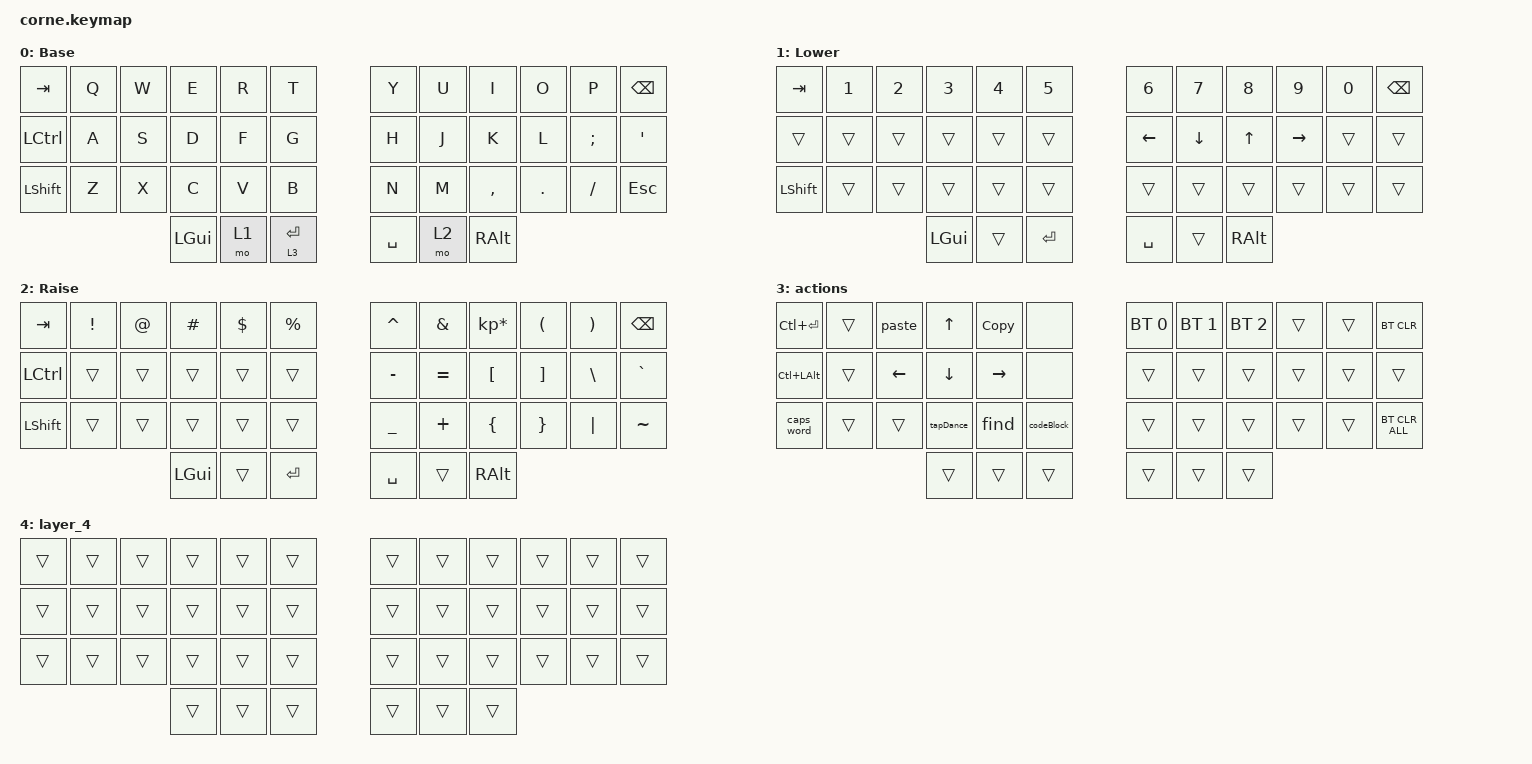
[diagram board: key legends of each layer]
/*
 * Copyright (c) 2020 The ZMK Contributors
 *
 * SPDX-License-Identifier: MIT
 */

#include <behaviors.dtsi>
#include <dt-bindings/zmk/bt.h>
#include <dt-bindings/zmk/keys.h>

/ {
    macros {
        instance: instance {
            compatible = "zmk,behavior-macro";
            #binding-cells = <0>;
            bindings = <&none &kp I &kp N &kp S &kp T &kp A &kp N &kp C &kp E &kp EQUAL>;
            label = "INSTANCE";
        };

        Pattern: Pattern {
            compatible = "zmk,behavior-macro";
            #binding-cells = <0>;
            bindings = <&none &kp P &kp A &kp T &kp T &kp E &kp R &kp N &kp EQUAL>;
            label = "PATTERN";
        };

        codeBlock: codeBlock {
            compatible = "zmk,behavior-macro";
            #binding-cells = <0>;
            bindings = <&none &kp LEFT_BRACE &kp C &kp O &kp D &kp E &kp RBRC &kp RET &kp RET &kp LEFT_BRACE &kp C &kp O &kp D &kp E &kp RBRC &kp UP>;
            label = "CODEBLOCK";
        };

        Copy: Control {
            compatible = "zmk,behavior-macro";
            #binding-cells = <0>;
            bindings = <&kp LC(C)>;
            label = "CONTROL";
        };

        paste: paste {
            compatible = "zmk,behavior-macro";
            #binding-cells = <0>;
            bindings = <&kp LC(V)>;
            label = "PASTE";
        };

        find: find {
            compatible = "zmk,behavior-macro";
            #binding-cells = <0>;
            bindings = <&kp LC(F)>;
            label = "FIND";
        };
    };

    combos {
        compatible = "zmk,combos";

        VolumeUp {
            bindings = <&kp C_VOLUME_UP>;
            key-positions = <16 19>;
        };

        VolumeDown {
            bindings = <&kp C_VOLUME_DOWN>;
            key-positions = <15 20>;
        };
    };

    behaviors {
        tapDance: tapDance {
            compatible = "zmk,behavior-tap-dance";
            label = "TAPDANCE";
            #binding-cells = <0>;
            bindings = <&Copy>, <&paste>;
        };
    };

    keymap {
        compatible = "zmk,keymap";

        default_layer {
            // -----------------------------------------------------------------------------------------
            // |  TAB |  Q  |  W  |  E  |  R  |  T  |   |  Y  |  U   |  I  |  O  |  P  | BKSP |
            // | CTRL |  A  |  S  |  D  |  F  |  G  |   |  H  |  J   |  K  |  L  |  ;  |  '   |
            // | SHFT |  Z  |  X  |  C  |  V  |  B  |   |  N  |  M   |  ,  |  .  |  /  | ESC  |
            //                    | GUI | LWR | SPC |   | ENT | RSE  | ALT |

            display-name = "Base";
            bindings = <
&kp TAB    &kp Q  &kp W  &kp E     &kp R  &kp T        &kp Y      &kp U  &kp I      &kp O    &kp P     &kp BSPC
&kp LCTRL  &kp A  &kp S  &kp D     &kp F  &kp G        &kp H      &kp J  &kp K      &kp L    &kp SEMI  &kp SQT
&kp LSHFT  &kp Z  &kp X  &kp C     &kp V  &kp B        &kp N      &kp M  &kp COMMA  &kp DOT  &kp FSLH  &kp ESC
                         &kp LGUI  &mo 1  &lt 3 RET    &kp SPACE  &mo 2  &kp RALT
            >;
        };

        lower_layer {
            // -----------------------------------------------------------------------------------------
            // |  TAB |  1  |  2  |  3  |  4  |  5  |   |  6  |  7  |  8  |  9  |  0  | BKSP |
            // | BTCLR| BT1 | BT2 | BT3 | BT4 | BT5 |   | LFT | DWN |  UP | RGT |     |      |
            // | SHFT |     |     |     |     |     |   |     |     |     |     |     |      |
            //                    | GUI |     | SPC |   | ENT |     | ALT |

            display-name = "Lower";
            bindings = <
&kp TAB    &kp N1  &kp N2  &kp N3    &kp N4  &kp N5     &kp N6     &kp N7    &kp N8    &kp N9     &kp N0  &kp BSPC
&trans     &trans  &trans  &trans    &trans  &trans     &kp LEFT   &kp DOWN  &kp UP    &kp RIGHT  &trans  &trans
&kp LSHFT  &trans  &trans  &trans    &trans  &trans     &trans     &trans    &trans    &trans     &trans  &trans
                           &kp LGUI  &trans  &kp RET    &kp SPACE  &trans    &kp RALT
            >;
        };

        raise_layer {
            // -----------------------------------------------------------------------------------------
            // |  TAB |  !  |  @  |  #  |  $  |  %  |   |  ^  |  &  |  *  |  (  |  )  | BKSP |
            // | CTRL |     |     |     |     |     |   |  -  |  =  |  [  |  ]  |  \  |  `   |
            // | SHFT |     |     |     |     |     |   |  _  |  +  |  {  |  }  | "|" |  ~   |
            //                    | GUI |     | SPC |   | ENT |     | ALT |

            display-name = "Raise";
            bindings = <
&kp TAB    &kp EXCL  &kp AT  &kp HASH  &kp DLLR  &kp PRCNT     &kp CARET  &kp AMPS   &kp KP_MULTIPLY  &kp LPAR  &kp RPAR  &kp BSPC
&kp LCTRL  &trans    &trans  &trans    &trans    &trans        &kp MINUS  &kp EQUAL  &kp LBKT         &kp RBKT  &kp BSLH  &kp GRAVE
&kp LSHFT  &trans    &trans  &trans    &trans    &trans        &kp UNDER  &kp PLUS   &kp LBRC         &kp RBRC  &kp PIPE  &kp TILDE
                             &kp LGUI  &trans    &kp RETURN    &kp SPACE  &trans     &kp RALT
            >;
        };

        actions {
            bindings = <
&kp LC(ENTER)     &trans  &paste    &kp UP_ARROW  &Copy      &none         &bt BT_SEL 0  &bt BT_SEL 1  &bt BT_SEL 2  &trans  &trans  &bt BT_CLR
&kp LC(LEFT_ALT)  &trans  &kp LEFT  &kp DOWN      &kp RIGHT  &none         &trans        &trans        &trans        &trans  &trans  &trans
&caps_word        &trans  &trans    &tapDance     &find      &codeBlock    &trans        &trans        &trans        &trans  &trans  &bt BT_CLR_ALL
                                    &trans        &trans     &trans        &trans        &trans        &trans
            >;
        };

        layer_4 {
            bindings = <
&trans  &trans  &trans  &trans  &trans  &trans    &trans  &trans  &trans  &trans  &trans  &trans
&trans  &trans  &trans  &trans  &trans  &trans    &trans  &trans  &trans  &trans  &trans  &trans
&trans  &trans  &trans  &trans  &trans  &trans    &trans  &trans  &trans  &trans  &trans  &trans
                        &trans  &trans  &trans    &trans  &trans  &trans
            >;
        };
    };
};
